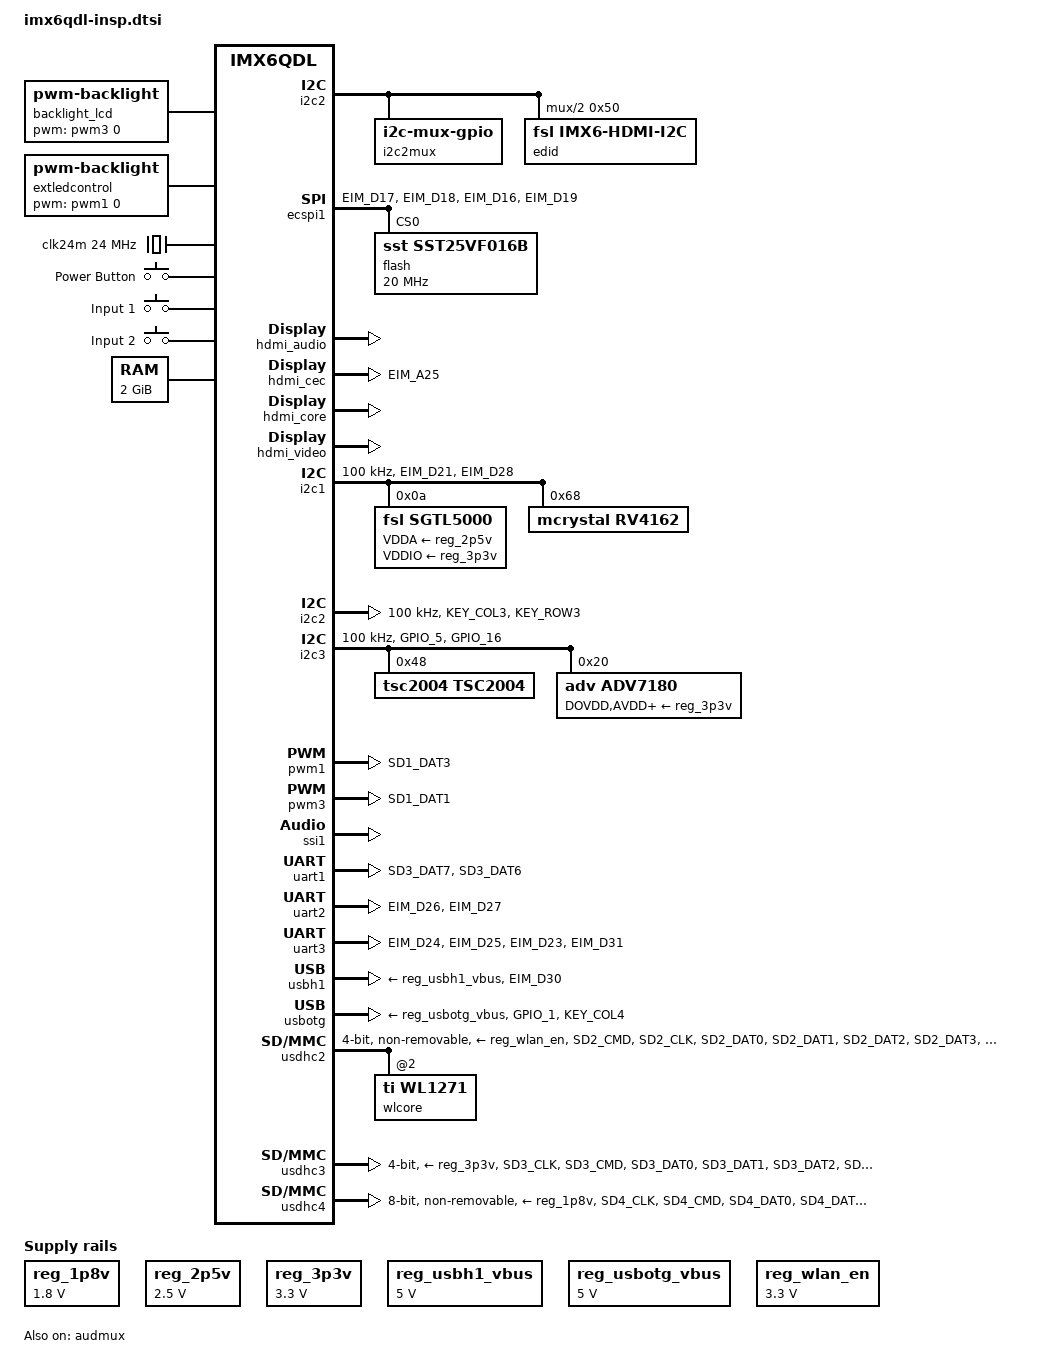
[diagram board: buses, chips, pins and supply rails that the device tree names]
/*
 * Copyright 2014 Boundary Devices
 * Copyright 2012 Freescale Semiconductor, Inc.
 * Copyright 2011 Linaro Ltd.
 *
 * The code contained herein is licensed under the GNU General Public
 * License. You may obtain a copy of the GNU General Public License
 * Version 2 or later at the following locations:
 *
 * http://www.opensource.org/licenses/gpl-license.html
 * http://www.gnu.org/copyleft/gpl.html
 */
#include <dt-bindings/gpio/gpio.h>
#include <dt-bindings/input/input.h>

&iomuxc {
	pinctrl-names = "default";
	pinctrl-0 = <&pinctrl_hog>;

	iomuxc_imx6q_insp: iomuxc-imx6q-inspgrp {
		status = "okay";
	};
};

&iomuxc_imx6q_insp {
	pinctrl_audmux: audmuxgrp {
		fsl,pins = <
			MX6QDL_PAD_CSI0_DAT7__AUD3_RXD  0x130b0
			MX6QDL_PAD_CSI0_DAT4__AUD3_TXC  0x130b0
			MX6QDL_PAD_CSI0_DAT5__AUD3_TXD  0x110b0
			MX6QDL_PAD_CSI0_DAT6__AUD3_TXFS 0x130b0
		>;
	};

	pinctrl_bt_rfkill: bt-rfkillgrp {
		fsl,pins = <
#define GP_BT_RFKILL_RESET	<&gpio6 16 GPIO_ACTIVE_LOW>
			MX6QDL_PAD_NANDF_CS3__GPIO6_IO16	0x030b0
		>;
	};

	pinctrl_ecspi1: ecspi1grp {
		fsl,pins = <
			MX6QDL_PAD_EIM_D17__ECSPI1_MISO		0x100b1
			MX6QDL_PAD_EIM_D18__ECSPI1_MOSI		0x100b1
			MX6QDL_PAD_EIM_D16__ECSPI1_SCLK		0x100b1
#define GP_ECSPI1_NOR_CS		<&gpio3 19 GPIO_ACTIVE_LOW>
			MX6QDL_PAD_EIM_D19__GPIO3_IO19		0x000b1	/* CS */
		>;
	};

	pinctrl_gpiokeys: gpiokeysgrp {
		fsl,pins = <
#define GP_MAIN_POWER_BUTTON		<&gpio3 6 GPIO_ACTIVE_HIGH>
			MX6QDL_PAD_EIM_DA6__GPIO3_IO06		0x0b0b0
#define GP_INSP_GP1			<&gpio4 7 GPIO_ACTIVE_LOW>
			MX6QDL_PAD_KEY_ROW0__GPIO4_IO07		0x0b0b0
#define GP_INSP_GP2			<&gpio4 8 GPIO_ACTIVE_LOW>
			MX6QDL_PAD_KEY_COL1__GPIO4_IO08		0x0b0b0
#define GP_INSP_GP3			<&gpio4 9 GPIO_ACTIVE_LOW>
			MX6QDL_PAD_KEY_ROW1__GPIO4_IO09		0x0b0b0
#define GP_INSP_GP4			<&gpio4 10 GPIO_ACTIVE_LOW>
			MX6QDL_PAD_KEY_COL2__GPIO4_IO10		0x0b0b0
#define GP_INSP_GP5			<&gpio4 11 GPIO_ACTIVE_LOW>
			MX6QDL_PAD_KEY_ROW2__GPIO4_IO11		0x0b0b0
#define GP_INSP_GP6			<&gpio1 2 GPIO_ACTIVE_LOW>
			MX6QDL_PAD_GPIO_2__GPIO1_IO02		0x0b0b0
#define GP_INSP_GP7			<&gpio1 4 GPIO_ACTIVE_LOW>
			MX6QDL_PAD_GPIO_4__GPIO1_IO04		0x0b0b0
#define GP_INSP_GP8			<&gpio1 7 GPIO_ACTIVE_LOW>
			MX6QDL_PAD_GPIO_7__GPIO1_IO07		0x0b0b0
#define GP_INSP_GP9			<&gpio1 8 GPIO_ACTIVE_LOW>
			MX6QDL_PAD_GPIO_8__GPIO1_IO08		0x0b0b0
#define GP_INSP_GP10			<&gpio1 9 GPIO_ACTIVE_LOW>
			MX6QDL_PAD_GPIO_9__GPIO1_IO09		0x0b0b0
		>;
	};

	pinctrl_hdmi_cec: hdmi_cecgrp {
		fsl,pins = <
			MX6QDL_PAD_EIM_A25__HDMI_TX_CEC_LINE 0x1f8b0
		>;
	};

	pinctrl_hog: hoggrp {
		fsl,pins = <
	/* Main power on, Low shuts down system */
#define GP_MAIN_POWER_EN		<&gpio3 5 GPIO_ACTIVE_LOW>
			MX6QDL_PAD_EIM_DA5__GPIO3_IO05		0x030b0
		>;
	};

	pinctrl_i2c1: i2c1grp {
		fsl,pins = <
			MX6QDL_PAD_EIM_D21__I2C1_SCL	0x4001b8b1
			MX6QDL_PAD_EIM_D28__I2C1_SDA	0x4001b8b1
		>;
	};

	pinctrl_i2c1_rv4162: i2c1-rv4162grp {
		fsl,pins = <
#define GPIRQ_RTC_RV4162		<&gpio4 6 IRQ_TYPE_LEVEL_LOW>
			MX6QDL_PAD_KEY_COL0__GPIO4_IO06		0x1b0b0
		>;
	};

	pinctrl_i2c1_sgtl5000: i2c1-sgtl5000grp {
		fsl,pins = <
			MX6QDL_PAD_GPIO_0__CCM_CLKO1		0x000b0		/* sys_mclk */
#define GP_SGTL5000_MUTE		<&gpio1 29 GPIO_ACTIVE_LOW>
			MX6QDL_PAD_ENET_TXD1__GPIO1_IO29	0x030b0
#define GP_HEADPHONE_DET		<&gpio7 8 GPIO_ACTIVE_LOW>
			MX6QDL_PAD_SD3_RST__GPIO7_IO08		0x1b0b0
		>;
	};

	pinctrl_i2c2: i2c2grp {
		fsl,pins = <
			MX6QDL_PAD_KEY_COL3__I2C2_SCL	0x4001b8b1
			MX6QDL_PAD_KEY_ROW3__I2C2_SDA	0x4001b8b1
		>;
	};

	pinctrl_i2c2mux: i2c2muxgrp {
		fsl,pins = <
#define GP_I2C2_J6_EN			<&gpio6 31 GPIO_ACTIVE_HIGH>
			MX6QDL_PAD_EIM_BCLK__GPIO6_IO31		0x0b0b0
#define GP_I2C2_HDMI_EN			<&gpio2 23 GPIO_ACTIVE_HIGH>
			MX6QDL_PAD_EIM_CS0__GPIO2_IO23		0x0b0b0
		>;
	};

	pinctrl_i2c3: i2c3grp {
		fsl,pins = <
			MX6QDL_PAD_GPIO_5__I2C3_SCL	0x4001b8b1
			MX6QDL_PAD_GPIO_16__I2C3_SDA	0x4001b8b1
		>;
	};

	pinctrl_i2c3_adv7180: i2c3-adv7180grp {
		fsl,pins = <
			MX6QDL_PAD_CSI0_DAT12__IPU1_CSI0_DATA12		0x1b0b1
			MX6QDL_PAD_CSI0_DAT13__IPU1_CSI0_DATA13		0x1b0b1
			MX6QDL_PAD_CSI0_DAT14__IPU1_CSI0_DATA14		0x1b0b1
			MX6QDL_PAD_CSI0_DAT15__IPU1_CSI0_DATA15		0x1b0b1
			MX6QDL_PAD_CSI0_DAT16__IPU1_CSI0_DATA16		0x1b0b1
			MX6QDL_PAD_CSI0_DAT17__IPU1_CSI0_DATA17		0x1b0b1
			MX6QDL_PAD_CSI0_DAT18__IPU1_CSI0_DATA18		0x1b0b1
			MX6QDL_PAD_CSI0_DAT19__IPU1_CSI0_DATA19		0x1b0b1
			MX6QDL_PAD_CSI0_PIXCLK__IPU1_CSI0_PIXCLK	0x1b0b1
#define GP_ADV7180_RESET	<&gpio2 25 GPIO_ACTIVE_LOW>
			MX6QDL_PAD_EIM_OE__GPIO2_IO25			0x000b0		/* Reset */
#define GPIRQ_ADV7180		<&gpio2 26 IRQ_TYPE_LEVEL_LOW>
			MX6QDL_PAD_EIM_RW__GPIO2_IO26			0x1b0b0		/* Irq */
		>;
	};

	pinctrl_i2c3_adv7180_cea861: i2c3-adv7180_cea861grp {
		fsl,pins = <
			MX6QDL_PAD_CSI0_MCLK__IPU1_CSI0_HSYNC		0x1b0b1
			MX6QDL_PAD_CSI0_VSYNC__IPU1_CSI0_VSYNC		0x1b0b1
		>;
	};

	pinctrl_i2c3_adv7180_no_cea861: i2c3-adv7180_no_cea861grp {
		fsl,pins = <
			MX6QDL_PAD_CSI0_MCLK__GPIO5_IO19		0x1b0b1	/* Hsync */
			MX6QDL_PAD_CSI0_VSYNC__GPIO5_IO21		0x1b0b1	/* Vsync */
		>;
	};

	pinctrl_i2c3_tsc2004: i2c3-tsc2004grp {
		fsl,pins = <
#define GPIRQ_TSC2004			<&gpio2 27 IRQ_TYPE_LEVEL_LOW>
#define GP_TSC2004			<&gpio2 27 GPIO_ACTIVE_LOW>
			MX6QDL_PAD_EIM_LBA__GPIO2_IO27		0x1b0b0
#define GP_TSC2004_RESET		<&gpio4 5 GPIO_ACTIVE_LOW>
			MX6QDL_PAD_GPIO_19__GPIO4_IO05		0x0b0b0
		>;
	};

	pinctrl_lcd: lcdgrp {
		fsl,pins = <
			MX6QDL_PAD_DI0_DISP_CLK__IPU1_DI0_DISP_CLK 0x10
			MX6QDL_PAD_DI0_PIN15__IPU1_DI0_PIN15       0x10		/* DRDY */
			MX6QDL_PAD_DI0_PIN2__IPU1_DI0_PIN02        0x10		/* HSYNC */
			MX6QDL_PAD_DI0_PIN3__IPU1_DI0_PIN03        0x10		/* VSYNC */
			MX6QDL_PAD_DI0_PIN4__GPIO4_IO20		   0x10		/* Contrast */
			MX6QDL_PAD_DISP0_DAT0__IPU1_DISP0_DATA00   0x10
			MX6QDL_PAD_DISP0_DAT1__IPU1_DISP0_DATA01   0x10
			MX6QDL_PAD_DISP0_DAT2__IPU1_DISP0_DATA02   0x10
			MX6QDL_PAD_DISP0_DAT3__IPU1_DISP0_DATA03   0x10
			MX6QDL_PAD_DISP0_DAT4__IPU1_DISP0_DATA04   0x10
			MX6QDL_PAD_DISP0_DAT5__IPU1_DISP0_DATA05   0x10
			MX6QDL_PAD_DISP0_DAT6__IPU1_DISP0_DATA06   0x10
			MX6QDL_PAD_DISP0_DAT7__IPU1_DISP0_DATA07   0x10
			MX6QDL_PAD_DISP0_DAT8__IPU1_DISP0_DATA08   0x10
			MX6QDL_PAD_DISP0_DAT9__IPU1_DISP0_DATA09   0x10
			MX6QDL_PAD_DISP0_DAT10__IPU1_DISP0_DATA10  0x10
			MX6QDL_PAD_DISP0_DAT11__IPU1_DISP0_DATA11  0x10
			MX6QDL_PAD_DISP0_DAT12__IPU1_DISP0_DATA12  0x10
			MX6QDL_PAD_DISP0_DAT13__IPU1_DISP0_DATA13  0x10
			MX6QDL_PAD_DISP0_DAT14__IPU1_DISP0_DATA14  0x10
			MX6QDL_PAD_DISP0_DAT15__IPU1_DISP0_DATA15  0x10
			MX6QDL_PAD_DISP0_DAT16__IPU1_DISP0_DATA16  0x10
			MX6QDL_PAD_DISP0_DAT17__IPU1_DISP0_DATA17  0x10
			MX6QDL_PAD_DISP0_DAT18__IPU1_DISP0_DATA18  0x10
			MX6QDL_PAD_DISP0_DAT19__IPU1_DISP0_DATA19  0x10
			MX6QDL_PAD_DISP0_DAT20__IPU1_DISP0_DATA20  0x10
			MX6QDL_PAD_DISP0_DAT21__IPU1_DISP0_DATA21  0x10
			MX6QDL_PAD_DISP0_DAT22__IPU1_DISP0_DATA22  0x10
			MX6QDL_PAD_DISP0_DAT23__IPU1_DISP0_DATA23  0x10
			>;
		};

	pinctrl_pwm1: pwm1grp {
		fsl,pins = <
			MX6QDL_PAD_SD1_DAT3__PWM1_OUT		0x030b0
		>;
	};

	pinctrl_pwm3: pwm3grp {
		fsl,pins = <
			MX6QDL_PAD_SD1_DAT1__PWM3_OUT		0x030b0
		>;
	};

	pinctrl_reg_usbotg_vbus: reg-usbotg-vbusgrp {
		fsl,pins = <
#define GP_REG_USBOTG	<&gpio3 22 GPIO_ACTIVE_HIGH>
			MX6QDL_PAD_EIM_D22__GPIO3_IO22		0x030b0
		>;
	};

	pinctrl_reg_wlan_en: reg-wlan-engrp {
		fsl,pins = <
#define GP_REG_WLAN_EN	<&gpio6 15 GPIO_ACTIVE_HIGH>
			MX6QDL_PAD_NANDF_CS2__GPIO6_IO15	0x030b0
		>;
	};

	pinctrl_uart1: uart1grp {
		fsl,pins = <
			MX6QDL_PAD_SD3_DAT7__UART1_TX_DATA	0x1b0b1
			MX6QDL_PAD_SD3_DAT6__UART1_RX_DATA	0x1b0b1
		>;
	};

	pinctrl_uart2: uart2grp {
		fsl,pins = <
			MX6QDL_PAD_EIM_D26__UART2_TX_DATA	0x1b0b1
			MX6QDL_PAD_EIM_D27__UART2_RX_DATA	0x1b0b1
		>;
	};

	pinctrl_uart3: uart3grp {
		/* Bluetooth */
		fsl,pins = <
			MX6QDL_PAD_EIM_D24__UART3_TX_DATA	0x1b0b1
			MX6QDL_PAD_EIM_D25__UART3_RX_DATA	0x1b0b1
			MX6QDL_PAD_EIM_D23__UART3_CTS_B		0x1b0b1
			MX6QDL_PAD_EIM_D31__UART3_RTS_B		0x1b0b1
		>;
	};

	pinctrl_usbh1: usbh1grp {
		fsl,pins = <
			MX6QDL_PAD_EIM_D30__USB_H1_OC		0x1b0b0
		>;
	};

	pinctrl_usbh1_vbus: usbh1_vbusgrp {
		fsl,pins = <
			/* power enable, high active */
#define GP_USB_H1_PWR		<&gpio7 12 GPIO_ACTIVE_HIGH>
			MX6QDL_PAD_GPIO_17__GPIO7_IO12		0x030b0
		>;
	};

	pinctrl_usbotg: usbotggrp {
		fsl,pins = <
			MX6QDL_PAD_GPIO_1__USB_OTG_ID	0x17059
			MX6QDL_PAD_KEY_COL4__USB_OTG_OC	0x1b0b0
		>;
	};

	/* USDHC2:  TiWi-R2 */
	pinctrl_usdhc2_50mhz: usdhc2_50mhzgrp {
		fsl,pins = <
			MX6QDL_PAD_SD2_CMD__SD2_CMD		0x17031
			MX6QDL_PAD_SD2_CLK__SD2_CLK		0x10031
			MX6QDL_PAD_SD2_DAT0__SD2_DATA0		0x17031
			MX6QDL_PAD_SD2_DAT1__SD2_DATA1		0x17031
			MX6QDL_PAD_SD2_DAT2__SD2_DATA2		0x17031
			MX6QDL_PAD_SD2_DAT3__SD2_DATA3		0x17031
			MX6QDL_PAD_SD1_CLK__OSC32K_32K_OUT	0x000b0		/* slow clock */
#define GPIRQ_WL1271	<&gpio6 11 IRQ_TYPE_LEVEL_HIGH>
			MX6QDL_PAD_NANDF_CS0__GPIO6_IO11	0x130b0
		>;
	};

	/* USDHC3 - micro sd */
	pinctrl_usdhc3_50mhz: usdhc3_50mhzgrp {
		fsl,pins = <
			MX6QDL_PAD_SD3_CLK__SD3_CLK		0x10031
			MX6QDL_PAD_SD3_CMD__SD3_CMD		0x17031
			MX6QDL_PAD_SD3_DAT0__SD3_DATA0		0x17031
			MX6QDL_PAD_SD3_DAT1__SD3_DATA1		0x17031
			MX6QDL_PAD_SD3_DAT2__SD3_DATA2		0x17031
			MX6QDL_PAD_SD3_DAT3__SD3_DATA3		0x17031
#define GP_SD3_CD			<&gpio7 0 GPIO_ACTIVE_LOW>
			MX6QDL_PAD_SD3_DAT5__GPIO7_IO00 0x1b0b0
#define GP_SD3_WP			<&gpio7 1 GPIO_ACTIVE_LOW>
			MX6QDL_PAD_SD3_DAT4__GPIO7_IO01 0x1b0b0
		>;
	};

	pinctrl_usdhc3_100mhz: usdhc3_100mhzgrp {
		fsl,pins = <
			MX6QDL_PAD_SD3_CLK__SD3_CLK		0x100b9
			MX6QDL_PAD_SD3_CMD__SD3_CMD		0x170b9
			MX6QDL_PAD_SD3_DAT0__SD3_DATA0		0x170b9
			MX6QDL_PAD_SD3_DAT1__SD3_DATA1		0x170b9
			MX6QDL_PAD_SD3_DAT2__SD3_DATA2		0x170b9
			MX6QDL_PAD_SD3_DAT3__SD3_DATA3		0x170b9
		>;
	};

	pinctrl_usdhc3_200mhz: usdhc3_200mhzgrp {
		fsl,pins = <
			MX6QDL_PAD_SD3_CLK__SD3_CLK		0x100f9
			MX6QDL_PAD_SD3_CMD__SD3_CMD		0x170f9
			MX6QDL_PAD_SD3_DAT0__SD3_DATA0		0x170f9
			MX6QDL_PAD_SD3_DAT1__SD3_DATA1		0x170f9
			MX6QDL_PAD_SD3_DAT2__SD3_DATA2		0x170f9
			MX6QDL_PAD_SD3_DAT3__SD3_DATA3		0x170f9
		>;
	};

	pinctrl_usdhc4_50mhz: usdhc4_50mhzgrp {
		fsl,pins = <
			MX6QDL_PAD_SD4_CLK__SD4_CLK		0x10031
			MX6QDL_PAD_SD4_CMD__SD4_CMD		0x17031
			MX6QDL_PAD_SD4_DAT0__SD4_DATA0		0x17031
			MX6QDL_PAD_SD4_DAT1__SD4_DATA1		0x17031
			MX6QDL_PAD_SD4_DAT2__SD4_DATA2		0x17031
			MX6QDL_PAD_SD4_DAT3__SD4_DATA3		0x17031
			MX6QDL_PAD_SD4_DAT4__SD4_DATA4		0x17031
			MX6QDL_PAD_SD4_DAT5__SD4_DATA5		0x17031
			MX6QDL_PAD_SD4_DAT6__SD4_DATA6		0x17031
			MX6QDL_PAD_SD4_DAT7__SD4_DATA7		0x17031
#define GP_EMMC_RESET	<&gpio2 6 GPIO_ACTIVE_LOW>
			MX6QDL_PAD_NANDF_D6__GPIO2_IO06		0x1b0b0
		>;
	};

	pinctrl_usdhc4_100mhz: usdhc4_100mhzgrp {
		fsl,pins = <
			MX6QDL_PAD_SD4_CLK__SD4_CLK		0x100b9
			MX6QDL_PAD_SD4_CMD__SD4_CMD		0x170b9
			MX6QDL_PAD_SD4_DAT0__SD4_DATA0		0x170b9
			MX6QDL_PAD_SD4_DAT1__SD4_DATA1		0x170b9
			MX6QDL_PAD_SD4_DAT2__SD4_DATA2		0x170b9
			MX6QDL_PAD_SD4_DAT3__SD4_DATA3		0x170b9
			MX6QDL_PAD_SD4_DAT4__SD4_DATA4		0x170b9
			MX6QDL_PAD_SD4_DAT5__SD4_DATA5		0x170b9
			MX6QDL_PAD_SD4_DAT6__SD4_DATA6		0x170b9
			MX6QDL_PAD_SD4_DAT7__SD4_DATA7		0x170b9
		>;
	};

	pinctrl_usdhc4_200mhz: usdhc4_200mhzgrp {
		fsl,pins = <
			MX6QDL_PAD_SD4_CLK__SD4_CLK		0x100f9
			MX6QDL_PAD_SD4_CMD__SD4_CMD		0x170f9
			MX6QDL_PAD_SD4_DAT0__SD4_DATA0		0x170f9
			MX6QDL_PAD_SD4_DAT1__SD4_DATA1		0x170f9
			MX6QDL_PAD_SD4_DAT2__SD4_DATA2		0x170f9
			MX6QDL_PAD_SD4_DAT3__SD4_DATA3		0x170f9
			MX6QDL_PAD_SD4_DAT4__SD4_DATA4		0x170f9
			MX6QDL_PAD_SD4_DAT5__SD4_DATA5		0x170f9
			MX6QDL_PAD_SD4_DAT6__SD4_DATA6		0x170f9
			MX6QDL_PAD_SD4_DAT7__SD4_DATA7		0x170f9
		>;
	};
};

/ {
	aliases {
		backlight_lcd = &backlight_lcd;
		fb_hdmi = &fb_hdmi;
		fb_lcd = &fb_lcd;
		lcd = &lcd;
		mmc0 = &usdhc3;
		mmc1 = &usdhc4;
		mmc2 = &usdhc2;
		mxcfb0 = &fb_hdmi;
		mxcfb1 = &fb_lcd;
		pwm_lcd = &pwm3;
	};

	backlight_lcd: backlight_lcd {
		brightness-levels = <0 10 20 30 40 50 60 70 80 90 100>;
		compatible = "pwm-backlight";
		default-brightness-level = <10>;
		display = <&fb_lcd>;
		pwms = <&pwm3 0 20000>;
	};

	extledcontrol {
		brightness-levels = <0 1 2 3 4 5 6 7 8 9 10 11 12 13 14 15 16
				     17 18 19 20 21 22 23 24 25 26 27 28 29 30
				     31 32 33 34 35 36 37 38 39 40 41 42 43 44
				     45 46 47 48 49 50 51 52 53 54 55 56 57 58
				     59 60 61 62 63 64 65 66 67 68 69 70 71 72
				     73 74 75 76 77 78 79 80 81 82 83 84 85 86
				     87 88 89 90 91 92 93 94 95 96 97 98 99>;
		compatible = "pwm-backlight";
		default-brightness-level = <0>;
		pwms = <&pwm1 0 20000>;
	};

	bt_rfkill {
		compatible = "net,rfkill-gpio";
		pinctrl-names = "default";
		pinctrl-0 = <&pinctrl_bt_rfkill>;
		name = "bt_rfkill";
		type = <2>;     /* bluetooth */
		reset-gpios = GP_BT_RFKILL_RESET;
	};

	clocks {
		clk24m: clk24m {
			compatible = "fixed-clock";
			#clock-cells = <0>;
			clock-frequency = <24000000>;
		};
	};

	fb_hdmi: fb@0 {
		compatible = "fsl,mxc_sdc_fb";
		disp_dev = "hdmi";
		interface_pix_fmt = "RGB24";
		mode_str ="800x600MR@60";
		default_bpp = <24>;
		int_clk = <0>;
		late_init = <0>;
		status = "disabled";
	};

	fb_lcd: fb@1 {
		compatible = "fsl,mxc_sdc_fb";
		disp_dev = "lcd";
		interface_pix_fmt = "RGB24";
		mode_str ="LSA40AT9001";
		default_bpp = <24>;
		int_clk = <0>;
		late_init = <0>;
		status = "disabled";
	};

	gpio_keys {
		compatible = "gpio-keys";
		pinctrl-names = "default";
		pinctrl-0 = <&pinctrl_gpiokeys>;
		power {
			label = "Power Button";
			gpios = GP_MAIN_POWER_BUTTON;
			linux,code = <KEY_POWER>;
			gpio-key,wakeup;
		};

		input1 {
			label = "Input 1";
			gpios = GP_INSP_GP1;
			linux,code = <KEY_VOLUMEUP>;
		};

		input2 {
			label = "Input 2";
			gpios = GP_INSP_GP2;
			linux,code = <KEY_VOLUMEDOWN>;
		};
	};

	i2c2mux {
		compatible = "i2c-mux-gpio";
		pinctrl-names = "default";
		pinctrl-0 = <&pinctrl_i2c2mux>;
		#address-cells = <1>;
		#size-cells = <0>;
		mux-gpios = GP_I2C2_J6_EN, GP_I2C2_HDMI_EN;
		i2c-parent = <&i2c2>;
		idle-state = <0>;

		i2c3@1 {
			/* J6 */
			reg = <1>;
			#address-cells = <1>;
			#size-cells = <0>;
		};

		i2c3@2 {
			/* HDMI */
			reg = <2>;
			#address-cells = <1>;
			#size-cells = <0>;
			edid@50 {
				compatible = "fsl,imx6-hdmi-i2c";
				reg = <0x50>;
			};
		};
	};

	lcd: lcd@0 {
		compatible = "fsl,lcd";
		ipu_id = <0>;
		disp_id = <0>;
		default_ifmt = "RGB24";
		pinctrl-names = "default";
		pinctrl-0 = <&pinctrl_lcd>;
		status = "okay";
	};

	memory {
		reg = <0x10000000 0x80000000>;
	};

	poweroff: poweroff {
		compatible = "gpio-poweroff";
		gpios = GP_MAIN_POWER_EN;
	};

	regulators {
		compatible = "simple-bus";
		#address-cells = <1>;
		#size-cells = <0>;

		reg_1p8v: regulator@0 {
			compatible = "regulator-fixed";
			reg = <0>;
			regulator-name = "1P8V";
			regulator-min-microvolt = <1800000>;
			regulator-max-microvolt = <1800000>;
			regulator-always-on;
		};

		reg_2p5v: regulator@1 {
			compatible = "regulator-fixed";
			reg = <1>;
			regulator-name = "2P5V";
			regulator-min-microvolt = <2500000>;
			regulator-max-microvolt = <2500000>;
			regulator-always-on;
		};

		reg_3p3v: regulator@2 {
			compatible = "regulator-fixed";
			reg = <2>;
			regulator-name = "3P3V";
			regulator-min-microvolt = <3300000>;
			regulator-max-microvolt = <3300000>;
			regulator-always-on;
		};

		reg_usbh1_vbus: regulator@3 {
			compatible = "regulator-fixed";
			reg = <3>;
			pinctrl-names = "default";
			pinctrl-0 = <&pinctrl_usbh1_vbus>;
			regulator-name = "usb_h1_vbus";
			regulator-min-microvolt = <5000000>;
			regulator-max-microvolt = <5000000>;
			gpio = GP_USB_H1_PWR;
			enable-active-low;
		};

		reg_usbotg_vbus: regulator@4 {
			compatible = "regulator-fixed";
			reg = <4>;
			pinctrl-names = "default";
			pinctrl-0 = <&pinctrl_reg_usbotg_vbus>;
			regulator-name = "usb_otg_vbus";
			regulator-min-microvolt = <5000000>;
			regulator-max-microvolt = <5000000>;
			gpio = GP_REG_USBOTG;
			enable-active-low;
		};

		reg_wlan_en: regulator@5 {
			compatible = "regulator-fixed";
			reg = <5>;
			pinctrl-names = "default";
			pinctrl-0 = <&pinctrl_reg_wlan_en>;
			regulator-name = "wlan-en";
			regulator-min-microvolt = <3300000>;
			regulator-max-microvolt = <3300000>;
			gpio = GP_REG_WLAN_EN;
			startup-delay-us = <70000>;
			enable-active-high;
		};
	};

	sound-hdmi {
		compatible = "fsl,imx6q-audio-hdmi",
			     "fsl,imx-audio-hdmi";
		model = "imx-audio-hdmi";
		hdmi-controller = <&hdmi_audio>;
	};

	sound-sgtl5000 {
		compatible = "fsl,imx6q-insp-sgtl5000",
			     "fsl,imx-audio-sgtl5000";
		model = "imx6q-insp-sgtl5000";
		ssi-controller = <&ssi1>;
		audio-codec = <&sgtl5000>;
		audio-routing =
			"MIC_IN", "Mic Jack",
			"Mic Jack", "Mic Bias",
			"Headphone Jack", "HP_OUT";
		mux-int-port = <1>;
		mux-ext-port = <3>;
		mute-gpios = GP_SGTL5000_MUTE;
	};

	v4l2_cap_0 {		/* Adv7180 */
		compatible = "fsl,imx6q-v4l2-capture";
		ipu_id = <0>;
		csi_id = <0>;
		mclk_source = <0>;
		status = "okay";
	};

	v4l2_out {
		compatible = "fsl,mxc_v4l2_output";
		status = "okay";
	};
};

&audmux {
	pinctrl-names = "default";
	pinctrl-0 = <&pinctrl_audmux>;
	status = "okay";
};

&ecspi1 {
	fsl,spi-num-chipselects = <1>;
	cs-gpios = GP_ECSPI1_NOR_CS;
	pinctrl-names = "default";
	pinctrl-0 = <&pinctrl_ecspi1>;
	status = "okay";

	flash: m25p80@0 {
		compatible = "sst,sst25vf016b";
		spi-max-frequency = <20000000>;
		reg = <0>;
		#address-cells = <1>;
		#size-cells = <1>;
		mtd@00000000 {
			label = "U-Boot";
			reg = <0x0 0xC0000>;
		};

		mtd@000C0000 {
			label = "env";
			reg = <0xC0000 0x2000>;
		};
		mtd@000C2000 {
			label = "splash";
			reg = <0xC2000 0x13e000>;
		};
	};
};

&hdmi_audio {
	status = "okay";
};

&hdmi_cec {
	pinctrl-names = "default";
	pinctrl-0 = <&pinctrl_hdmi_cec>;
	status = "okay";
};

&hdmi_core {
	/* hdmi/lcd show same content */
	ipu_id = <0>;
	disp_id = <0>;
	status = "okay";
};

&hdmi_video {
	override_edid = [
 00 ff ff ff ff ff ff 00 04 69 f3 24 d6 12 00 00
 16 16 01 03 80 34 1d 78 2a c7 20 a4 55 49 99 27
 13 50 54 bf ef 00 71 4f 81 40 81 80 95 00 b3 00
 d1 c0 01 01 01 01 02 3a 80 18 71 38 2d 40 58 2c
 45 00 09 25 21 00 00 1e 00 00 00 ff 00 43 36 4c
 4d 54 46 30 30 34 38 32 32 0a 00 00 00 fd 00 37
 4b 1e 55 10 00 0a 20 20 20 20 20 20 00 00 00 fc
 00 41 53 55 53 20 56 48 32 34 32 48 0a 20 01 78 ];

	fsl,phy_reg_vlev = <0x0294>;
	fsl,phy_reg_cksymtx = <0x800d>;
	status = "okay";
};

&i2c1 {
	clock-frequency = <100000>;
	pinctrl-names = "default";
	pinctrl-0 = <&pinctrl_i2c1>;
	status = "okay";

	sgtl5000: sgtl5000@0a {
		compatible = "fsl,sgtl5000";
		pinctrl-names = "default";
		pinctrl-0 = <&pinctrl_i2c1_sgtl5000>;
		reg = <0x0a>;
		clocks = <&clks IMX6QDL_CLK_CKO>;
		VDDA-supply = <&reg_2p5v>;
		VDDIO-supply = <&reg_3p3v>;
	};
	rv4162@68 {
		compatible = "mcrystal,rv4162";
		pinctrl-names = "default";
		pinctrl-0 = <&pinctrl_i2c1_rv4162>;
		reg = <0x68>;
		interrupts-extended = GPIRQ_RTC_RV4162;
	};
};

&i2c2 {
	clock-frequency = <100000>;
	pinctrl-names = "default";
	pinctrl-0 = <&pinctrl_i2c2>;
	status = "okay";
};

&i2c3 {
	clock-frequency = <100000>;
	pinctrl-names = "default";
	pinctrl-0 = <&pinctrl_i2c3>;
	status = "okay";

	tsc2004@48 {
		compatible = "tsc2004,tsc2004";
		reg = <0x48>;
		pinctrl-names = "default";
		pinctrl-0 = <&pinctrl_i2c3_tsc2004>;
		interrupts-extended = GPIRQ_TSC2004;
		wakeup-gpios = GP_TSC2004;
		reset-gpios = GP_TSC2004_RESET;
	};

	adv7180: adv7180@20 {
		compatible = "adv,adv7180";
		reg = <0x20>;
		pinctrl-names = "default", "no_cea861", "cea861";
		pinctrl-0 = <&pinctrl_i2c3_adv7180>;
		pinctrl-1 = <&pinctrl_i2c3_adv7180_no_cea861>;
		pinctrl-2 = <&pinctrl_i2c3_adv7180_cea861>;
		cea861 = <0>;
		DOVDD-supply = <&reg_3p3v>; /* 3.3v, enabled via 2.8 VGEN6 */
		AVDD-supply = <&reg_3p3v>;  /* 1.8v */
		DVDD-supply = <&reg_3p3v>;  /* 1.8v */
		PVDD-supply = <&reg_3p3v>;  /* 1.8v */
		rst-gpios = GP_ADV7180_RESET;
		interrupts-extended = GPIRQ_ADV7180;
		ipu_id = <0>;
		csi_id = <0>;
		mclk = <28636300>;
		mclk_source = <0>;
		cvbs = <1>;
        };
};

&pwm1 {
	pinctrl-names = "default";
	pinctrl-0 = <&pinctrl_pwm1>;
	status = "okay";
};

&pwm3 {
	pinctrl-names = "default";
	pinctrl-0 = <&pinctrl_pwm3>;
	status = "okay";
};

&ssi1 {
	fsl,mode = "i2s-slave";
	status = "okay";
};

&uart1 {
	pinctrl-names = "default";
	pinctrl-0 = <&pinctrl_uart1>;
	status = "okay";
};

&uart2 {
	pinctrl-names = "default";
	pinctrl-0 = <&pinctrl_uart2>;
	status = "okay";
};

&uart3 {
	pinctrl-names = "default";
	pinctrl-0 = <&pinctrl_uart3>;
	fsl,uart-has-rtscts;
	status = "okay";
};

&usbh1 {
	pinctrl-names = "default";
	pinctrl-0 = <&pinctrl_usbh1>;
	vbus-supply = <&reg_usbh1_vbus>;
	status = "okay";
};

&usbotg {
	vbus-supply = <&reg_usbotg_vbus>;
	pinctrl-names = "default";
	pinctrl-0 = <&pinctrl_usbotg>;
	disable-over-current;
	status = "okay";
};

&usdhc2 {	/* uSDHC2, TiWi */
	pinctrl-names = "default";
	pinctrl-0 = <&pinctrl_usdhc2_50mhz>;
	bus-width = <4>;
	non-removable;
	vmmc-supply = <&reg_wlan_en>;
	vqmmc-1-8-v;
	cap-power-off-card;
	keep-power-in-suspend;
	status = "okay";

	#address-cells = <1>;
	#size-cells = <0>;
	wlcore: wlcore@2 {
		compatible = "ti,wl1271";
		interrupts-extended = GPIRQ_WL1271;
		reg = <2>;
		ref-clock-frequency = <38400000>;
	};
};

&usdhc3 {
	pinctrl-names = "default";
	pinctrl-0 = <&pinctrl_usdhc3_50mhz>;
	bus-width = <4>;
	cd-gpios = GP_SD3_CD;
	vmmc-supply = <&reg_3p3v>;
	status = "okay";
};

&usdhc4 {
	pinctrl-names = "default";
	pinctrl-0 = <&pinctrl_usdhc4_50mhz>;
	bus-width = <8>;
	non-removable;
	vqmmc-1-8-v;
	vmmc-supply = <&reg_1p8v>;
	keep-power-in-suspend;
	status = "okay";
};
